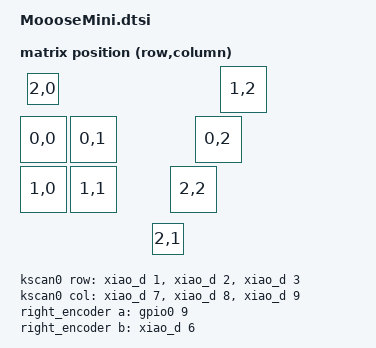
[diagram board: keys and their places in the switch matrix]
#include <dt-bindings/zmk/matrix_transform.h>
#include <dt-bindings/zmk/input_transform.h>
#include <physical_layouts.dtsi>

&gpio0 {
    status = "okay";
};

/ {
    MoooseMini_physical_layout: MoooseMini_physical_layout {
        compatible = "zmk,physical-layout";
        display-name = "Default";
        transform = <&default_transform>;
        kscan = <&kscan0>;
        keys = <&key_physical_attrs  70  70   15   15       0     0     0>,
               <&key_physical_attrs 100 100  400    0       0     0     0>,
               <&key_physical_attrs 100 100    0  100       0     0     0>,
               <&key_physical_attrs 100 100  100  100       0     0     0>,
               <&key_physical_attrs 100 100  350  100       0     0     0>,
               <&key_physical_attrs 100 100    0  200       0     0     0>,
               <&key_physical_attrs 100 100  100  200       0     0     0>,
               <&key_physical_attrs 100 100  300  200       0     0     0>,
               <&key_physical_attrs  70  70  265  315       0     0     0>;
    };

    default_transform: keymap_transform_0 {
        compatible = "zmk,matrix-transform";
        columns = <3>;
        rows = <3>;
        map = <
            RC(2,0)                 RC(1,2)
            RC(0,0)  RC(0,1)      RC(0,2)
            RC(1,0)  RC(1,1)    RC(2,2)
                              RC(2,1)
        >;
    };

    kscan0: kscan {
        compatible = "zmk,kscan-gpio-matrix";
        diode-direction = "col2row";
        wakeup-source;
        row-gpios = <&xiao_d 1 (GPIO_ACTIVE_HIGH | GPIO_PULL_DOWN)>,
                    <&xiao_d 2 (GPIO_ACTIVE_HIGH | GPIO_PULL_DOWN)>,
                    <&xiao_d 3 (GPIO_ACTIVE_HIGH | GPIO_PULL_DOWN)>;
        col-gpios = <&xiao_d 7 GPIO_ACTIVE_HIGH>,
                    <&xiao_d 8 GPIO_ACTIVE_HIGH>,
                    <&xiao_d 9 GPIO_ACTIVE_HIGH>;
    };

    right_encoder: encoder_right {
        compatible = "alps,ec11";
        a-gpios = <&gpio0 9 (GPIO_ACTIVE_HIGH | GPIO_PULL_UP)>;
        b-gpios = <&xiao_d 6 (GPIO_ACTIVE_HIGH | GPIO_PULL_UP)>;
        steps = <24>;
        status = "disabled";
    };

    sensors: sensors {
        compatible = "zmk,keymap-sensors";
        sensors = <&right_encoder>;
        triggers-per-rotation = <10>;
    };
};

&xiao_i2c { status = "disabled"; };

&pinctrl {
    spi0_default: spi0_default {
        group1 {
            psels = <NRF_PSEL(SPIM_SCK, 0, 5)>,
                <NRF_PSEL(SPIM_MOSI, 0, 4)>,
                <NRF_PSEL(SPIM_MISO, 0, 4)>;
        };
    };

    spi0_sleep: spi0_sleep {
        group1 {
            psels = <NRF_PSEL(SPIM_SCK, 0, 5)>,
                <NRF_PSEL(SPIM_MOSI, 0, 4)>,
                <NRF_PSEL(SPIM_MISO, 0, 4)>;
            low-power-enable;
        };
    };
};


